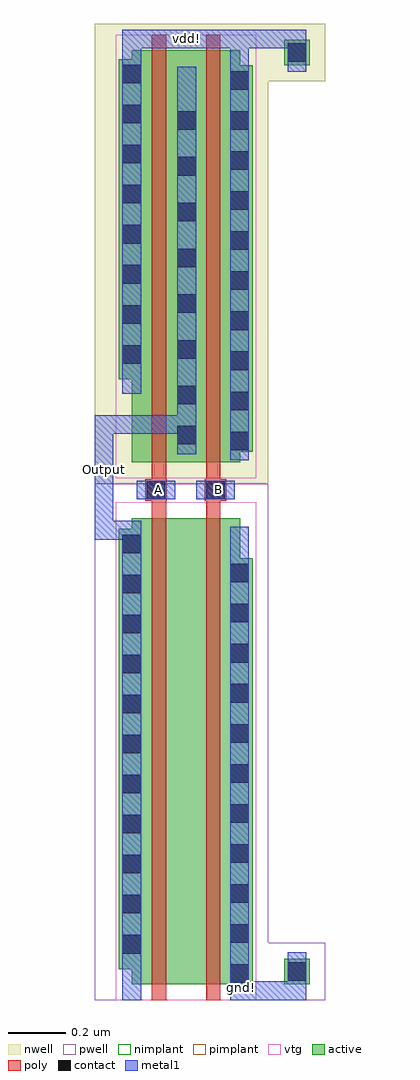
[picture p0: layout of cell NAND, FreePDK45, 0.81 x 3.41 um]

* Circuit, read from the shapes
.subckt NAND A B Output gnd! vdd!
M1 n1 A Output gnd! nfet w=1.63u l=0.05u
M2 gnd! B n1 gnd! nfet w=1.63u l=0.05u
M3 Output A vdd! vdd! pfet w=1.44u l=0.05u
M4 vdd! B Output vdd! pfet w=1.44u l=0.05u
.ends

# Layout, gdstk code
from math import pi, radians
import gdstk
lib = gdstk.Library(unit=1e-6, precision=5e-10)
def R(c, l, rs):  # rectangles x0, y0, x1, y1
    for r in rs: c.add(gdstk.rectangle(r[:2], r[2:], *l))
def A(c, l, x, y, w, h, nx, ny, dx, dy):  # array of equal rectangles
    R(c, l, [(x+i*dx, y+j*dy, x+i*dx+w, y+j*dy+h) for i in range(nx) for j in range(ny)])
active = (1, 0)
pwell = (2, 0)
nwell = (3, 0)
nimplant = (4, 0)
pimplant = (5, 0)
vtg = (6, 0)
poly = (9, 0)
contact = (10, 0)
metal1 = (11, 0)

pmos_vtg_0 = lib.new_cell('pmos_vtg_0')
R(pmos_vtg_0, active, [(-0.07,0,0.31,1.44), (-0.07,0,0,1.44), (0.0475,0,0.1875,1.44), (0.24,0,0.31,1.44)])
R(pmos_vtg_0, nwell, [(-0.125,-0.055,0.365,1.495)])
R(pmos_vtg_0, pimplant, [(-0.07,0,0.31,1.44)])
R(pmos_vtg_0, vtg, [(-0.125,-0.055,0.365,1.495)])
R(pmos_vtg_0, poly, [(0,-0.055,0.05,0), (0,-0.055,0.05,1.495), (0.19,-0.055,0.24,0), (0.19,-0.055,0.24,1.495), (0,1.44,0.05,1.495), (0.19,1.44,0.24,1.495)])
pmos_vtg_0.add(gdstk.Label('l = 0.05', (0.25,0.72), layer=230, texttype=0))
pmos_vtg_0.add(gdstk.Label('w = 1.44', (0.215,1.505), layer=230, texttype=0))
pmos_vtg_0.add(gdstk.Label('l = 0.05', (0.06,0.72), layer=230, texttype=0))
pmos_vtg_0.add(gdstk.Label('w = 1.44', (0.025,1.505), layer=230, texttype=0))

nmos_vtg_1 = lib.new_cell('nmos_vtg_1')
R(nmos_vtg_1, active, [(-0.07,0,0.31,1.63), (-0.07,0,0,1.63), (0.0475,0,0.1875,1.63), (0.24,0,0.31,1.63)])
R(nmos_vtg_1, pwell, [(-0.125,-0.055,0.365,1.685)])
R(nmos_vtg_1, nimplant, [(-0.07,0,0.31,1.63)])
R(nmos_vtg_1, vtg, [(-0.125,-0.055,0.365,1.685)])
R(nmos_vtg_1, poly, [(0,-0.055,0.05,0), (0,-0.055,0.05,1.685), (0.19,-0.055,0.24,0), (0.19,-0.055,0.24,1.685), (0,1.63,0.05,1.685), (0.19,1.63,0.24,1.685)])
nmos_vtg_1.add(gdstk.Label('l = 0.05', (0.25,0.815), layer=230, texttype=0))
nmos_vtg_1.add(gdstk.Label('w = 1.63', (0.215,1.695), layer=230, texttype=0))
nmos_vtg_1.add(gdstk.Label('l = 0.05', (0.06,0.815), layer=230, texttype=0))
nmos_vtg_1.add(gdstk.Label('w = 1.63', (0.025,1.695), layer=230, texttype=0))

ntap_0 = lib.new_cell('NTAP_0')
R(ntap_0, active, [(-0.045,-0.045,0.045,0.045)])
R(ntap_0, nwell, [(-0.1,-0.1,0.1,0.1)])
R(ntap_0, nimplant, [(-0.045,-0.045,0.045,0.045)])
R(ntap_0, contact, [(-0.0325,-0.0325,0.0325,0.0325)])
R(ntap_0, metal1, [(-0.0325,-0.0675,0.0325,0.0675)])

ptap_1 = lib.new_cell('PTAP_1')
R(ptap_1, active, [(-0.045,-0.045,0.045,0.045)])
R(ptap_1, pwell, [(-0.1,-0.1,0.1,0.1)])
R(ptap_1, pimplant, [(-0.045,-0.045,0.045,0.045)])
R(ptap_1, contact, [(-0.0325,-0.0325,0.0325,0.0325)])
R(ptap_1, metal1, [(-0.0325,-0.0675,0.0325,0.0675)])

m1_poly_2 = lib.new_cell('M1_POLY_2')
R(m1_poly_2, poly, [(-0.0375,-0.0375,0.0375,0.0375)])
R(m1_poly_2, contact, [(-0.0325,-0.0325,0.0325,0.0325)])
R(m1_poly_2, metal1, [(-0.0325,-0.0675,0.0325,0.0675)])

nand = lib.new_cell('NAND')
A(nand, active, 0.3575, 2.25, 0.09, 0.14, 1, 11, 0, 0.14)
A(nand, active, 0.735, 2.2875, 0.09, 0.14, 1, 10, 0, 0.14)
A(nand, active, 0.735, 4.15, 0.09, 0.14, 1, 9, 0, 0.14)
A(nand, active, 0.55, 4.22, 0.09, 0.09, 1, 7, 0, 0.16)
A(nand, active, 0.3575, 4.3125, 0.09, 0.14, 1, 8, 0, 0.14)
R(nand, active, [(0.735,2.1975,0.825,2.2875), (0.735,4.06,0.825,4.15), (0.55,4.08,0.64,4.17)])
R(nand, pwell, [(0.2725,2.1425,0.88,3.9475)])
R(nand, nwell, [(0.2725,3.9475,0.88,5.555)])
A(nand, nimplant, 0.3575, 2.25, 0.09, 0.14, 1, 11, 0, 0.14)
A(nand, nimplant, 0.735, 2.2875, 0.09, 0.14, 1, 10, 0, 0.14)
R(nand, nimplant, [(0.735,2.1975,0.825,2.2875)])
A(nand, pimplant, 0.735, 4.15, 0.09, 0.14, 1, 9, 0, 0.14)
A(nand, pimplant, 0.55, 4.22, 0.09, 0.09, 1, 7, 0, 0.16)
A(nand, pimplant, 0.3575, 4.3125, 0.09, 0.14, 1, 8, 0, 0.14)
R(nand, pimplant, [(0.735,4.06,0.825,4.15), (0.55,4.08,0.64,4.17)])
A(nand, contact, 0.7475, 2.2025, 0.065, 0.065, 1, 11, 0, 0.14)
A(nand, contact, 0.37, 2.305, 0.065, 0.065, 1, 11, 0, 0.14)
A(nand, contact, 0.7475, 4.065, 0.065, 0.065, 1, 10, 0, 0.14)
A(nand, contact, 0.5625, 4.225, 0.065, 0.065, 1, 7, 0, 0.16)
A(nand, contact, 0.37, 4.3675, 0.065, 0.065, 1, 8, 0, 0.14)
R(nand, contact, [(0.5625,4.085,0.6275,4.15)])
nand.add(gdstk.FlexPath([(0.7475,2.175),(1.0125,2.175)], 0.065, ends="flush", simple_path=True, layer=11, datatype=0))  # metal1
nand.add(gdstk.FlexPath([(0.78,5.5025),(1.0125,5.5025)], 0.065, ends="flush", simple_path=True, layer=11, datatype=0))  # metal1
nand.add(gdstk.FlexPath([(0.6275,4.155),(0.305,4.155),(0.305,3.785),(0.435,3.785)], 0.065, ends="flush", simple_path=True, layer=11, datatype=0))  # metal1
nand.add(gdstk.FlexPath([(0.4025,2.1425),(0.4025,3.805)], 0.065, ends="flush", simple_path=True, layer=11, datatype=0))  # metal1
nand.add(gdstk.FlexPath([(0.595,4.05),(0.595,5.405)], 0.065, ends="flush", simple_path=True, layer=11, datatype=0))  # metal1
nand.add(gdstk.FlexPath([(0.37,5.4425),(0.4025,5.4425),(0.4025,5.5025),(0.78,5.5025),(0.78,4.03)], 0.065, ends="flush", simple_path=True, layer=11, datatype=0))  # metal1
nand.add(gdstk.FlexPath([(0.4025,4.2625),(0.4025,5.3775)], 0.065, ends=(0, 0.0325), simple_path=True, layer=11, datatype=0))  # metal1
nand.add(gdstk.FlexPath([(0.78,3.7975),(0.78,2.155)], 0.065, ends="flush", simple_path=True, layer=11, datatype=0))  # metal1
nand.add(gdstk.FlexPath([(0.6875,4.005),(0.6875,3.9625)], 0.05, ends="flush", simple_path=True, layer=9, datatype=0))  # poly
nand.add(gdstk.FlexPath([(0.6875,3.86),(0.6875,3.8875)], 0.05, ends="flush", simple_path=True, layer=9, datatype=0))  # poly
nand.add(gdstk.FlexPath([(0.4975,3.86),(0.4975,3.8875)], 0.05, ends="flush", simple_path=True, layer=9, datatype=0))  # poly
nand.add(gdstk.FlexPath([(0.4975,4.0125),(0.4975,3.9625)], 0.05, ends="flush", simple_path=True, layer=9, datatype=0))  # poly
nand.add(gdstk.Reference(pmos_vtg_0, (0.4725,4.0225)))
nand.add(gdstk.Reference(nmos_vtg_1, (0.4725,2.1975)))
nand.add(gdstk.Reference(ntap_0, (0.98,5.455)))
nand.add(gdstk.Reference(ptap_1, (0.98,2.2425)))
nand.add(gdstk.Reference(m1_poly_2, (0.4875,3.925), rotation=pi/2))
nand.add(gdstk.Reference(m1_poly_2, (0.695,3.925), rotation=pi/2))
nand.add(gdstk.Label('gnd!', (0.7875,2.185), layer=11, texttype=0))
nand.add(gdstk.Label('vdd!', (0.5925,5.505), layer=11, texttype=0))
nand.add(gdstk.Label('Output', (0.3075,3.9975), layer=11, texttype=0))
nand.add(gdstk.Label('B', (0.705,3.9275), layer=11, texttype=0))
nand.add(gdstk.Label('A', (0.4975,3.9275), layer=11, texttype=0))

lib.write_gds('NAND.gds')
